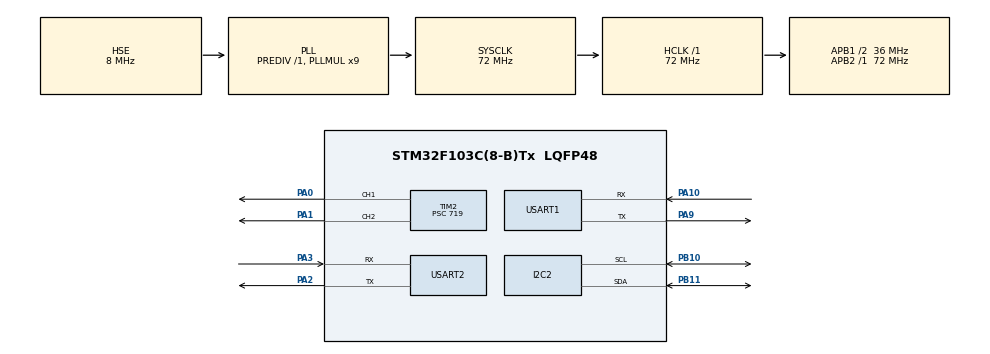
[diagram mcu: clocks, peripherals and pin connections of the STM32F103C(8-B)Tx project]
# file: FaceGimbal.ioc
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Dma.Request0=USART1_RX
Dma.Request1=USART1_TX
Dma.Request2=USART2_RX
Dma.Request3=USART2_TX
Dma.USART1_RX.0.Direction=DMA_PERIPH_TO_MEMORY
Dma.USART1_RX.0.Instance=DMA1_Channel5
Dma.USART1_RX.0.MemDataAlignment=DMA_MDATAALIGN_BYTE
Dma.USART1_RX.0.MemInc=DMA_MINC_ENABLE
Dma.USART1_RX.0.Mode=DMA_NORMAL
Dma.USART1_RX.0.PeriphDataAlignment=DMA_PDATAALIGN_BYTE
Dma.USART1_RX.0.PeriphInc=DMA_PINC_DISABLE
Dma.USART1_RX.0.Priority=DMA_PRIORITY_HIGH
Dma.USART1_TX.1.Direction=DMA_MEMORY_TO_PERIPH
Dma.USART1_TX.1.Instance=DMA1_Channel4
Dma.USART1_TX.1.MemDataAlignment=DMA_MDATAALIGN_BYTE
Dma.USART1_TX.1.MemInc=DMA_MINC_ENABLE
Dma.USART1_TX.1.Mode=DMA_NORMAL
Dma.USART1_TX.1.PeriphDataAlignment=DMA_PDATAALIGN_BYTE
Dma.USART1_TX.1.PeriphInc=DMA_PINC_DISABLE
Dma.USART1_TX.1.Priority=DMA_PRIORITY_HIGH
Dma.USART2_RX.2.Direction=DMA_PERIPH_TO_MEMORY
Dma.USART2_RX.2.Instance=DMA1_Channel6
Dma.USART2_RX.2.MemDataAlignment=DMA_MDATAALIGN_BYTE
Dma.USART2_RX.2.MemInc=DMA_MINC_ENABLE
Dma.USART2_RX.2.Mode=DMA_NORMAL
Dma.USART2_RX.2.PeriphDataAlignment=DMA_PDATAALIGN_BYTE
Dma.USART2_RX.2.PeriphInc=DMA_PINC_DISABLE
Dma.USART2_RX.2.Priority=DMA_PRIORITY_HIGH
Dma.USART2_TX.3.Direction=DMA_MEMORY_TO_PERIPH
Dma.USART2_TX.3.Instance=DMA1_Channel7
Dma.USART2_TX.3.MemDataAlignment=DMA_MDATAALIGN_BYTE
Dma.USART2_TX.3.MemInc=DMA_MINC_ENABLE
Dma.USART2_TX.3.Mode=DMA_NORMAL
Dma.USART2_TX.3.PeriphDataAlignment=DMA_PDATAALIGN_BYTE
Dma.USART2_TX.3.PeriphInc=DMA_PINC_DISABLE
Dma.USART2_TX.3.Priority=DMA_PRIORITY_HIGH
I2C2.I2C_Mode=I2C_Fast
Mcu.Family=STM32F1
Mcu.Name=STM32F103C(8-B)Tx
Mcu.Package=LQFP48
NVIC.DMA1_Channel4_IRQn=true\:0\:0\:false\:false\:true\:false\:true\:true
NVIC.DMA1_Channel5_IRQn=true\:0\:0\:false\:false\:true\:false\:true\:true
NVIC.DMA1_Channel6_IRQn=true\:0\:0\:false\:false\:true\:false\:true\:true
NVIC.DMA1_Channel7_IRQn=true\:0\:0\:false\:false\:true\:false\:true\:true
NVIC.PriorityGroup=NVIC_PRIORITYGROUP_4
NVIC.USART1_IRQn=true\:0\:0\:false\:false\:true\:true\:true\:true
NVIC.USART2_IRQn=true\:0\:0\:false\:false\:true\:true\:true\:true
PA0-WKUP.GPIO_Speed=GPIO_SPEED_FREQ_MEDIUM
PA0-WKUP.Signal=S_TIM2_CH1_ETR
PA1.GPIO_Speed=GPIO_SPEED_FREQ_MEDIUM
PA1.Signal=S_TIM2_CH2
PA10.Mode=Asynchronous
PA10.Signal=USART1_RX
PA13.Mode=Serial_Wire
PA13.Signal=SYS_JTMS-SWDIO
PA14.Mode=Serial_Wire
PA14.Signal=SYS_JTCK-SWCLK
PA2.Mode=Asynchronous
PA2.Signal=USART2_TX
PA3.Mode=Asynchronous
PA3.Signal=USART2_RX
PA9.Mode=Asynchronous
PA9.Signal=USART1_TX
PB10.Mode=I2C
PB10.Signal=I2C2_SCL
PB11.Mode=I2C
PB11.Signal=I2C2_SDA
PD0-OSC_IN.Mode=HSE-External-Oscillator
PD0-OSC_IN.Signal=RCC_OSC_IN
PD1-OSC_OUT.Mode=HSE-External-Oscillator
PD1-OSC_OUT.Signal=RCC_OSC_OUT
ProjectManager.HeapSize=0x200
ProjectManager.StackSize=0x400
ProjectManager.TargetToolchain=MDK-ARM V5.32
RCC.AHBFreq_Value=72000000
RCC.APB1CLKDivider=RCC_HCLK_DIV2
RCC.APB1Freq_Value=36000000
RCC.APB1TimFreq_Value=72000000
RCC.APB2Freq_Value=72000000
RCC.APB2TimFreq_Value=72000000
RCC.HCLKFreq_Value=72000000
RCC.PLLMUL=RCC_PLL_MUL9
RCC.PLLSourceVirtual=RCC_PLLSOURCE_HSE
RCC.SYSCLKFreq_VALUE=72000000
RCC.SYSCLKSource=RCC_SYSCLKSOURCE_PLLCLK
RCC.USBFreq_Value=72000000
SH.S_TIM2_CH1_ETR.0=TIM2_CH1,PWM Generation1 CH1
SH.S_TIM2_CH2.0=TIM2_CH2,PWM Generation2 CH2
TIM2.Channel-PWM\ Generation1\ CH1=TIM_CHANNEL_1
TIM2.Channel-PWM\ Generation2\ CH2=TIM_CHANNEL_2
TIM2.Period=1999
TIM2.Prescaler=719
USART1.VirtualMode=VM_ASYNC
USART2.VirtualMode=VM_ASYNC
VP_TIM2_VS_ClockSourceINT.Mode=Internal
board=custom

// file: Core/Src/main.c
/* USER CODE BEGIN Header */
/**
  ******************************************************************************
  * @file           : main.c
  * @brief          : Main program body
  ******************************************************************************
  * @attention
  *
  * Copyright (c) 2026 STMicroelectronics.
  * All rights reserved.
  *
  * This software is licensed under terms that can be found in the LICENSE file
  * in the root directory of this software component.
  * If no LICENSE file comes with this software, it is provided AS-IS.
  *
  ******************************************************************************
  */
/* USER CODE END Header */
#include "main.h"
#include "dma.h"
#include "i2c.h"
#include "tim.h"
#include "usart.h"
#include "gpio.h"

/* USER CODE BEGIN Includes */
#include "Servo.h"
#include "stdio.h"
#include "protocol.h"
#include "PID.h"
#include "string.h"
#include "math.h"
#include "vofa.h"
#include "gimbal_ctrl.h"
#include "OLED_IIC_Config.h"
#include "OLED_Function.h"
#include "OLED_Front.h"
#include "OLED_Emotion.h"
/* USER CODE END Includes */

/* USER CODE BEGIN PV */

Servo_t servo_yaw;
Servo_t servo_pitch;
PID_t pid_yaw;
PID_t pid_pitch;
float pid_yaw_pararm[3] = {0.0205, 0.001, 0.1};
float pid_pitch_pararm[3] = {0.02, 0.001, 0.115};
uint32_t last_gimbal_time = 0;
uint32_t last_oled_time = 0;

/* USER CODE END PV */

void SystemClock_Config(void);

int main(void)
{

  /* MCU Configuration--------------------------------------------------------*/

  /* Reset of all peripherals, Initializes the Flash interface and the Systick. */
  HAL_Init();

  /* Configure the system clock */
  SystemClock_Config();

  /* Initialize all configured peripherals */
  MX_GPIO_Init();
  MX_DMA_Init();
  MX_TIM2_Init();
  MX_USART1_UART_Init();
  MX_USART2_UART_Init();
  MX_I2C2_Init();
  /* USER CODE BEGIN 2 */
	Servo_Init(&servo_yaw, &htim2, TIM_CHANNEL_1, 0.0f, 180.0f);
  Set_Angle(&servo_yaw, 80.0f);
  Servo_Init(&servo_pitch, &htim2, TIM_CHANNEL_2, 60.0f, 180.0f);
  Set_Angle(&servo_pitch, 120.0f);
  Protocol_Init(&huart1);
  PID_init(&pid_yaw, PID_POSITION, pid_yaw_pararm, 2.0f, 1.0f);
  PID_init(&pid_pitch, PID_POSITION, pid_pitch_pararm, 2.0f, 1.0f);
	OLED_Init();
	Robot_Emotion_Init();
	Protocol_Init(&huart1);
	uint32_t ctrl_tick = HAL_GetTick();
  uint32_t oled_tick = HAL_GetTick();
  /* USER CODE END 2 */

  /* Infinite loop */
  /* USER CODE BEGIN WHILE */

  while (1)
  {

//		Gimbal_Control_Loop();
//
//		float debug_data[3];
//    debug_data[0] = pid_pitch.set;  // 目标值（通常是 0）
//    debug_data[1] = pid_pitch.fdb;  // 当前视觉反馈的 dy 偏移量
//    debug_data[2] = pid_pitch.out;  // PID 计算出的角度增量
//		VOFA_JustFloat(debug_data, 3);
//		HAL_Delay(10);
		uint32_t current_tick = HAL_GetTick();

    /* 任务1：云台控制与 PID 环路 —— 严格每 10 毫秒(100Hz) 极其精准地强行分发一次 */
    if (current_tick - last_gimbal_time >= 10)
    {
        last_gimbal_time = current_tick;
        Gimbal_Control_Loop();
    }

    /* 任务2：OLED 渲染与局部刷屏 —— 每 50 毫秒(20Hz) 相对低频地平滑刷新一次 */
    if (current_tick - last_oled_time >= 50)
    {
        last_oled_time = current_tick;
        Robot_Emotion_Update();
    }
    /* USER CODE END WHILE */

  }
}

void SystemClock_Config(void)
{
  RCC_OscInitTypeDef RCC_OscInitStruct = {0};
  RCC_ClkInitTypeDef RCC_ClkInitStruct = {0};

  /** Initializes the RCC Oscillators according to the specified parameters
  * in the RCC_OscInitTypeDef structure.
  */
  RCC_OscInitStruct.OscillatorType = RCC_OSCILLATORTYPE_HSE;
  RCC_OscInitStruct.HSEState = RCC_HSE_ON;
  RCC_OscInitStruct.HSEPredivValue = RCC_HSE_PREDIV_DIV1;
  RCC_OscInitStruct.HSIState = RCC_HSI_ON;
  RCC_OscInitStruct.PLL.PLLState = RCC_PLL_ON;
  RCC_OscInitStruct.PLL.PLLSource = RCC_PLLSOURCE_HSE;
  RCC_OscInitStruct.PLL.PLLMUL = RCC_PLL_MUL9;
  if (HAL_RCC_OscConfig(&RCC_OscInitStruct) != HAL_OK)
  {
    Error_Handler();
  }

  /** Initializes the CPU, AHB and APB buses clocks
  */
  RCC_ClkInitStruct.ClockType = RCC_CLOCKTYPE_HCLK|RCC_CLOCKTYPE_SYSCLK
                              |RCC_CLOCKTYPE_PCLK1|RCC_CLOCKTYPE_PCLK2;
  RCC_ClkInitStruct.SYSCLKSource = RCC_SYSCLKSOURCE_PLLCLK;
  RCC_ClkInitStruct.AHBCLKDivider = RCC_SYSCLK_DIV1;
  RCC_ClkInitStruct.APB1CLKDivider = RCC_HCLK_DIV2;
  RCC_ClkInitStruct.APB2CLKDivider = RCC_HCLK_DIV1;

  if (HAL_RCC_ClockConfig(&RCC_ClkInitStruct, FLASH_LATENCY_2) != HAL_OK)
  {
    Error_Handler();
  }
}

void Error_Handler(void)
{
  __disable_irq();
  while (1)
  {
  }
}
